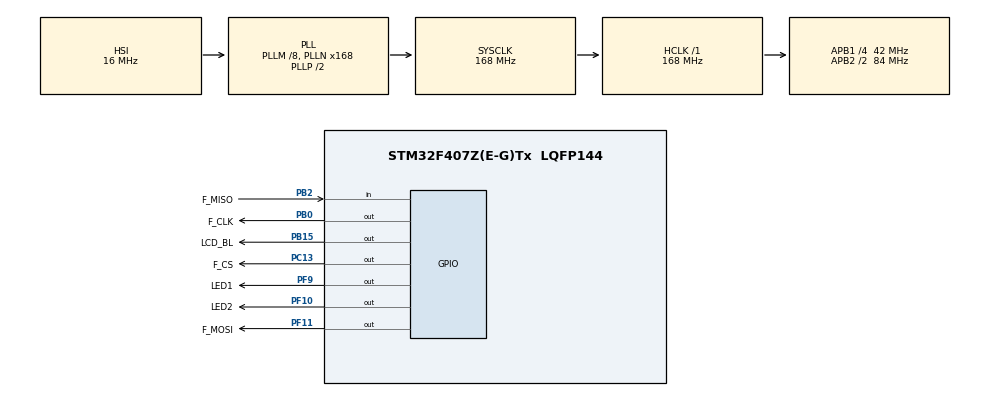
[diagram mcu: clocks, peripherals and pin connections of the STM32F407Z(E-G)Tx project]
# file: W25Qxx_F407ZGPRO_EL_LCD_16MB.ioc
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Mcu.Family=STM32F4
Mcu.Name=STM32F407Z(E-G)Tx
Mcu.Package=LQFP144
NVIC.PriorityGroup=NVIC_PRIORITYGROUP_4
PA13.Mode=Serial_Wire
PA13.Signal=SYS_JTMS-SWDIO
PA14.Mode=Serial_Wire
PA14.Signal=SYS_JTCK-SWCLK
PB0.GPIO_Label=F_CLK
PB0.GPIO_Speed=GPIO_SPEED_FREQ_VERY_HIGH
PB0.Signal=GPIO_Output
PB15.GPIO_Label=LCD_BL
PB15.PinState=GPIO_PIN_RESET
PB15.Signal=GPIO_Output
PB2.GPIO_Label=F_MISO
PB2.Signal=GPIO_Input
PC13-ANTI_TAMP.GPIO_Label=F_CS
PC13-ANTI_TAMP.Signal=GPIO_Output
PF10.GPIO_Label=LED2
PF10.Signal=GPIO_Output
PF11.GPIO_Label=F_MOSI
PF11.GPIO_Speed=GPIO_SPEED_FREQ_VERY_HIGH
PF11.PinState=GPIO_PIN_SET
PF11.Signal=GPIO_Output
PF9.GPIO_Label=LED1
PF9.PinState=GPIO_PIN_SET
PF9.Signal=GPIO_Output
PH0-OSC_IN.Mode=HSE-External-Oscillator
PH0-OSC_IN.Signal=RCC_OSC_IN
PH1-OSC_OUT.Mode=HSE-External-Oscillator
PH1-OSC_OUT.Signal=RCC_OSC_OUT
ProjectManager.HeapSize=0x200
ProjectManager.StackSize=0x400
ProjectManager.TargetToolchain=STM32CubeIDE
RCC.48MHZClocksFreq_Value=84000000
RCC.AHBFreq_Value=168000000
RCC.APB1CLKDivider=RCC_HCLK_DIV4
RCC.APB1Freq_Value=42000000
RCC.APB1TimFreq_Value=84000000
RCC.APB2CLKDivider=RCC_HCLK_DIV2
RCC.APB2Freq_Value=84000000
RCC.APB2TimFreq_Value=168000000
RCC.CortexFreq_Value=168000000
RCC.HCLKFreq_Value=168000000
RCC.HSE_VALUE=8000000
RCC.HSI_VALUE=16000000
RCC.LSE_VALUE=32768
RCC.PLLM=8
RCC.PLLN=168
RCC.SYSCLKFreq_VALUE=168000000
RCC.SYSCLKSource=RCC_SYSCLKSOURCE_PLLCLK
RCC.VCOOutputFreq_Value=336000000
board=custom

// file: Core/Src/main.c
/* USER CODE BEGIN Header */
/**
  ******************************************************************************
  * @file           : main.c
  * @brief          : Main program body
  ******************************************************************************
  * @attention
  *
  * Copyright (c) 2025 STMicroelectronics.
  * All rights reserved.
  *
  * This software is licensed under terms that can be found in the LICENSE file
  * in the root directory of this software component.
  * If no LICENSE file comes with this software, it is provided AS-IS.
  *
  ******************************************************************************
  */
/* USER CODE END Header */
#include "main.h"
#include "gpio.h"

/* USER CODE BEGIN Includes */
#include "W25Qxx.h"
/* USER CODE END Includes */

/* USER CODE BEGIN PV */
static uint8_t test = 0;
/* USER CODE END PV */

void SystemClock_Config(void);

/* USER CODE BEGIN 0 */
void pls_tst(void){
	test++;
}
/* USER CODE END 0 */

int main(void)
{

  /* MCU Configuration--------------------------------------------------------*/

  /* Reset of all peripherals, Initializes the Flash interface and the Systick. */
  HAL_Init();

  /* Configure the system clock */
  SystemClock_Config();

  /* Initialize all configured peripherals */
  MX_GPIO_Init();
  /* USER CODE BEGIN 2 */
	pls_tst();

extern int Init(void) ;
extern int Write(uint32_t Address, uint32_t Size, uint8_t* buffer);
extern int Read (uint32_t Address, uint32_t Size, uint8_t* buffer);
extern int SectorErase(uint32_t EraseStartAddress, uint32_t EraseEndAddress);
extern int MassErase(void) ;
extern uint32_t CheckSum(uint32_t StartAddress, uint32_t Size, uint32_t InitVal);
extern uint64_t Verify (uint32_t MemoryAddr, uint32_t RAMBufferAddr, uint32_t Size, uint32_t missalignement);

	if(test == 0){
		Init();
		Write(0,0,0);
		Read(0,0,0);
		SectorErase(0, 0);
		MassErase();
		CheckSum(0, 0, 0);
		Verify(0, 0, 0, 0);
	}
  /* USER CODE END 2 */

  /* Infinite loop */
	while (1)
	{

    /* USER CODE BEGIN 3 */
		HAL_Delay(200);
		HAL_GPIO_TogglePin(LED1_GPIO_Port, LED1_Pin);
		HAL_GPIO_TogglePin(LED2_GPIO_Port, LED2_Pin);

	}
  /* USER CODE END 3 */
}

void SystemClock_Config(void)
{
  RCC_OscInitTypeDef RCC_OscInitStruct = {0};
  RCC_ClkInitTypeDef RCC_ClkInitStruct = {0};

  /** Configure the main internal regulator output voltage
  */
  __HAL_RCC_PWR_CLK_ENABLE();
  __HAL_PWR_VOLTAGESCALING_CONFIG(PWR_REGULATOR_VOLTAGE_SCALE1);

  /** Initializes the RCC Oscillators according to the specified parameters
  * in the RCC_OscInitTypeDef structure.
  */
  RCC_OscInitStruct.OscillatorType = RCC_OSCILLATORTYPE_HSI;
  RCC_OscInitStruct.HSIState = RCC_HSI_ON;
  RCC_OscInitStruct.HSICalibrationValue = RCC_HSICALIBRATION_DEFAULT;
  RCC_OscInitStruct.PLL.PLLState = RCC_PLL_ON;
  RCC_OscInitStruct.PLL.PLLSource = RCC_PLLSOURCE_HSI;
  RCC_OscInitStruct.PLL.PLLM = 8;
  RCC_OscInitStruct.PLL.PLLN = 168;
  RCC_OscInitStruct.PLL.PLLP = RCC_PLLP_DIV2;
  RCC_OscInitStruct.PLL.PLLQ = 4;
  if (HAL_RCC_OscConfig(&RCC_OscInitStruct) != HAL_OK)
  {
    Error_Handler();
  }

  /** Initializes the CPU, AHB and APB buses clocks
  */
  RCC_ClkInitStruct.ClockType = RCC_CLOCKTYPE_HCLK|RCC_CLOCKTYPE_SYSCLK
                              |RCC_CLOCKTYPE_PCLK1|RCC_CLOCKTYPE_PCLK2;
  RCC_ClkInitStruct.SYSCLKSource = RCC_SYSCLKSOURCE_PLLCLK;
  RCC_ClkInitStruct.AHBCLKDivider = RCC_SYSCLK_DIV1;
  RCC_ClkInitStruct.APB1CLKDivider = RCC_HCLK_DIV4;
  RCC_ClkInitStruct.APB2CLKDivider = RCC_HCLK_DIV2;

  if (HAL_RCC_ClockConfig(&RCC_ClkInitStruct, FLASH_LATENCY_5) != HAL_OK)
  {
    Error_Handler();
  }
}

void Error_Handler(void)
{
  __disable_irq();
  while (1)
  {
  }
}
